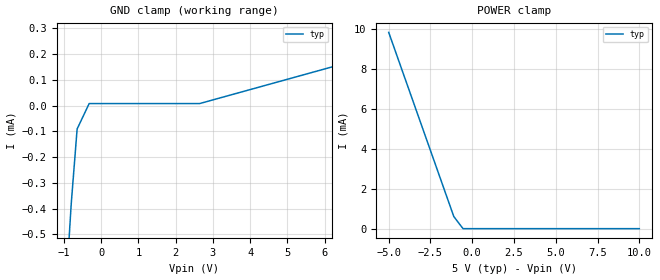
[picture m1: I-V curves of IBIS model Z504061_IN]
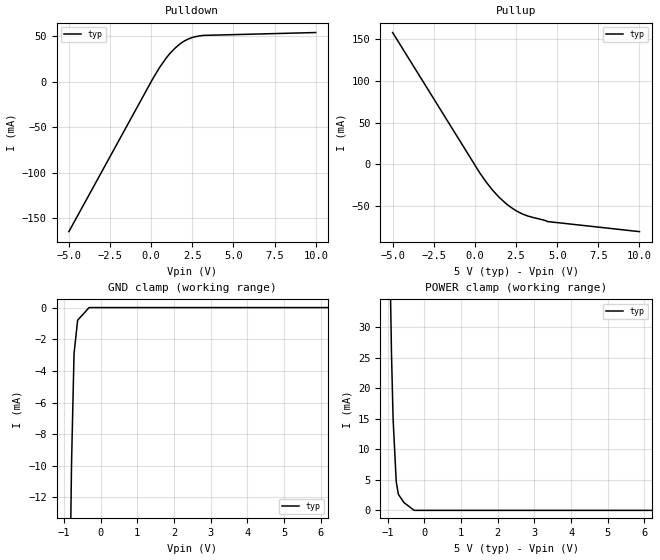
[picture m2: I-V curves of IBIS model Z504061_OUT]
| YOU ARE ONLY AUTHORIZED TO USE THIS SOFTWARE
| ACCORDING TO LICENSOR'S LICENSE RESTRICTIONS.
[IBIS Ver] 3.1
[File Name] mc54hc147j.ibs
[File Rev] 2.0
[Source] Measured and created by ICX Technology
[Date] Friday 7/14/00 9:08:06 AM
[Copyright]
| (C) COPYRIGHT 1993-2000
| MENTOR GRAPHICS CORPORATION
| ICX STANDARD LIBRARY, ICX PROJECT MODELING,
| ICX CUSTOM MODELING, ICX VENDOR MODEL
| ALL RIGHTS RESERVED.
| THE FOLLOWING ARE TRADEMARKS OR SERVICE MARKS OF
| MENTOR GRAPHICS CORPORATION:ICX (R), ICX STANDARD
| LIBRARY(R), ICX PROJECT MODELING(R), ICX CUSTOM
| MODELING(R), qualityIBIS(TM), MODELVIEWER(TM),
| AND MODELEDITOR(TM)
| ALL COPIES OF SOFTWARE, INCLUDING BUT NOT LIMITED TO
| ANY MODIFICATIONS, ENHANCEMENTS OR DERIVATIVE WORKS,
| MUST CONTAIN ALL MENTOR GRAPHICS CORPORATION'S
| NOTICES AND LEGENDS, INCLUDING THOSE EMBEDDED IN
| SOFTWARE AND THOSE AFFIXED TO SOFTWARE MEDIUM
| AND CONTAINER, AS RECEIVED FROM MENTOR GRAPHICS
| CORPORATION.
|  ZAP Model Builder 2.7
[Component] MC54HC147J
[Manufacturer] OnSemiconductor
[Package]
| variable   typ   min   max
R_pkg  .212ohms NA NA
L_pkg  4.758nH NA NA
C_pkg  1.944pF NA NA
[Pin] signal_name  model_name  R_pin  L_pin C_pin
1 _D3 Z504061_IN .224 7.258n 2.683p
2 _D4 Z504061_IN .216 5.258n 2.19p
3 _D5 Z504061_IN .208 3.758n 1.697p
4 _D6 Z504061_IN .2 2.758n 1.204p
5 _D7 Z504061_IN .2 2.758n 1.204p
6 _Y2 Z504061_OUT .208 3.758n 1.697p
7 _Y1 Z504061_OUT .216 5.258n 2.19p
8 GND GND .224 7.258n 2.683p
9 _Y0 Z504061_OUT .224 7.258n 2.683p
10 _D8 Z504061_IN .216 5.258n 2.19p
11 _D0 Z504061_IN .208 3.758n 1.697p
12 _D1 Z504061_IN .2 2.758n 1.204p
13 _D2 Z504061_IN .2 2.758n 1.204p
14 _Y3 Z504061_OUT .208 3.758n 1.697p
15 NC NC .216 5.258n 2.19p
16 VCC POWER .224 7.258n 2.683p
| Models and submodels in the file (2): Z504061_IN (Input), Z504061_OUT (Output)
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| (C) COPYRIGHT 1993-2000
| MENTOR GRAPHICS CORPORATION
| ICX STANDARD LIBRARY, ICX PROJECT MODELING,
| ICX CUSTOM MODELING, ICX VENDOR MODEL
| ALL RIGHTS RESERVED.
| THE FOLLOWING ARE TRADEMARKS OR SERVICE MARKS OF
| MENTOR GRAPHICS CORPORATION:ICX (R), ICX STANDARD
| LIBRARY(R), ICX PROJECT MODELING(R), ICX CUSTOM
| MODELING(R), qualityIBIS(TM), MODELVIEWER(TM),
| AND MODELEDITOR(TM)
| ALL COPIES OF SOFTWARE, INCLUDING BUT NOT LIMITED TO
| ANY MODIFICATIONS, ENHANCEMENTS OR DERIVATIVE WORKS,
| MUST CONTAIN ALL MENTOR GRAPHICS CORPORATION'S
| NOTICES AND LEGENDS, INCLUDING THOSE EMBEDDED IN
| SOFTWARE AND THOSE AFFIXED TO SOFTWARE MEDIUM
| AND CONTAINER, AS RECEIVED FROM MENTOR GRAPHICS
| CORPORATION.
| Model Application Version 1.89 2/18/99.
[Model] Z504061_IN
Model_type Input
Vinl = 1.000V
Vinh = 3.500V
C_comp 4.000pF NA NA
| variable typ   min   max
[Voltage Range] 5.000V NA NA
[GND Clamp Reference] 0.000V NA NA
[POWER Clamp Reference] 5.000V NA NA
[GND Clamp]
-5V       -10.18mA   NA         NA
-805.5mV  -381.4uA   NA         NA
-646.9mV  -90.61uA   NA         NA
-323.4mV  8.047uA    NA         NA
2.642V    8.047uA    NA         NA
10V       302.6uA    NA         NA
[POWER Clamp]
-5V       9.834mA    NA         NA
-1.104V   607.8uA    NA         NA
-552mV    0A         NA         NA
10V       0A         NA         NA
| (C) COPYRIGHT 1993-2000
| MENTOR GRAPHICS CORPORATION
| ICX STANDARD LIBRARY, ICX PROJECT MODELING,
| ICX CUSTOM MODELING, ICX VENDOR MODEL
| ALL RIGHTS RESERVED.
| THE FOLLOWING ARE TRADEMARKS OR SERVICE MARKS OF
| MENTOR GRAPHICS CORPORATION:ICX (R), ICX STANDARD
| LIBRARY(R), ICX PROJECT MODELING(R), ICX CUSTOM
| MODELING(R), qualityIBIS(TM), MODELVIEWER(TM),
| AND MODELEDITOR(TM)
| ALL COPIES OF SOFTWARE, INCLUDING BUT NOT LIMITED TO
| ANY MODIFICATIONS, ENHANCEMENTS OR DERIVATIVE WORKS,
| MUST CONTAIN ALL MENTOR GRAPHICS CORPORATION'S
| NOTICES AND LEGENDS, INCLUDING THOSE EMBEDDED IN
| SOFTWARE AND THOSE AFFIXED TO SOFTWARE MEDIUM
| AND CONTAINER, AS RECEIVED FROM MENTOR GRAPHICS
| CORPORATION.
| Model Application Version 1.89 2/18/99.
[Model] Z504061_OUT
Model_type Output
Vref=0.000V
Rref=500.0Mohms
Cref=50.00pF
Vmeas=2.500V
C_comp 8.000pF NA NA
| variable typ   min   max
[Voltage Range] 5.000V NA NA
[POWER Clamp Reference] 5.000V NA NA
[Pullup Reference] 5.000V NA NA
[Pulldown Reference] 0.000V NA NA
[GND Clamp Reference] 0.000V NA NA
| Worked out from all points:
|   slope of the pulldown table from 0 to 0.75 V, typ, clamps not added: 34.4 ohm
|   slope of the pullup table from 0 to 0.75 V, typ, clamps not added: 34.1 ohm
|   GND clamp passes 1 mA (typ) near -0.63 V on its own axis
[GND Clamp]
-5V       -890.1mA   NA         NA
-1.248V   -90.3mA    NA         NA
-791mV    -9.857mA   NA         NA
-722.7mV  -2.914mA   NA         NA
-625mV    -801.6uA   NA         NA
-312.5mV  0A         NA         NA
10V       0A         NA         NA
[Pulldown]
-5V       -165.1mA   NA         NA
83.05mV   2.874mA    NA         NA
507.9mV   15.7mA     NA         NA
915.1mV   26.21mA    NA         NA
1.445V    36.99mA    NA         NA
1.738V    41.57mA    NA         NA
2.329V    47.74mA    NA         NA
3.164V    51.15mA    NA         NA
10V       54.31mA    NA         NA
[Pullup]
-5V       157.6mA    NA         NA
312mV     -10.61mA   NA         NA
1.065V    -30.56mA   NA         NA
1.885V    -46.73mA   NA         NA
2.495V    -55.22mA   NA         NA
2.93V     -59.53mA   NA         NA
4.403V    -68.22mA   NA         NA
10V       -80.32mA   NA         NA
[POWER Clamp]
-5V       2.194A     NA         NA
-1.268V   187.9mA    NA         NA
-1.035V   76.56mA    NA         NA
-894mV    25.57mA    NA         NA
-850mV    14.89mA    NA         NA
-765mV    4.687mA    NA         NA
-707mV    2.634mA    NA         NA
-557mV    1.294mA    NA         NA
-278.5mV  0A         NA         NA
10V       0A         NA         NA
[Ramp]
| variable typ min max
dV/dt_r 2.837/1.512n NA NA
dV/dt_f 2.837/1.744n NA NA
R_load = 500.0Ohms
